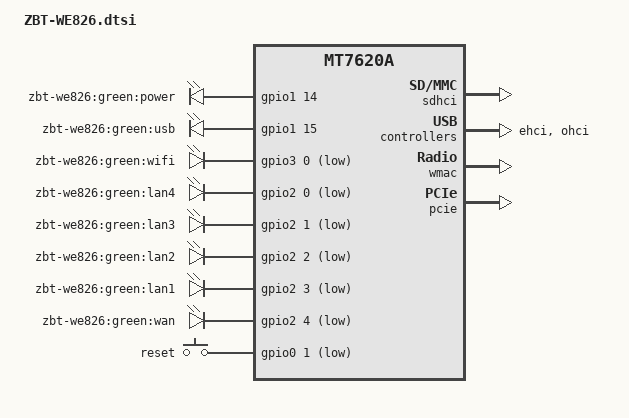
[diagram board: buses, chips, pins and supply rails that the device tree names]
#include "mt7620a.dtsi"

#include <dt-bindings/gpio/gpio.h>
#include <dt-bindings/input/input.h>

/ {
	compatible = "zbtlink,zbt-we826", "ralink,mt7620a-soc";

	aliases {
		led-boot = &led_power;
		led-failsafe = &led_power;
		led-running = &led_power;
		led-upgrade = &led_power;
	};

	chosen {
		bootargs = "console=ttyS0,115200";
	};

	leds {
		compatible = "gpio-leds";
		led_power: power {
			label = "zbt-we826:green:power";
			gpios = <&gpio1 14 GPIO_ACTIVE_HIGH>;
		};
		usb {
			label = "zbt-we826:green:usb";
			gpios = <&gpio1 15 GPIO_ACTIVE_HIGH>;
			trigger-sources = <&ohci_port1>, <&ehci_port1>;
			linux,default-trigger = "usbport";
		};
		air {
			label = "zbt-we826:green:wifi";
			gpios = <&gpio3 0 GPIO_ACTIVE_LOW>;
		};
		lan4 {
			label = "zbt-we826:green:lan4";
			gpios = <&gpio2 0 GPIO_ACTIVE_LOW>;
		};
		lan3 {
			label = "zbt-we826:green:lan3";
			gpios = <&gpio2 1 GPIO_ACTIVE_LOW>;
		};
		lan2 {
			label = "zbt-we826:green:lan2";
			gpios = <&gpio2 2 GPIO_ACTIVE_LOW>;
		};
		lan1 {
			label = "zbt-we826:green:lan1";
			gpios = <&gpio2 3 GPIO_ACTIVE_LOW>;
		};
		wan {
			label = "zbt-we826:green:wan";
			gpios = <&gpio2 4 GPIO_ACTIVE_LOW>;
		};
	};

	keys {
		compatible = "gpio-keys-polled";
		poll-interval = <20>;
		reset {
			label = "reset";
			gpios = <&gpio0 1 GPIO_ACTIVE_LOW>;
			linux,code = <KEY_RESTART>;
		};
	};
};

&gpio0 {
	status = "okay";
};

&gpio1 {
	status = "okay";
};

&gpio2 {
	status = "okay";
};

&gpio3 {
	status = "okay";
};

&sdhci {
	status = "okay";
};

&ehci {
	status = "okay";
};

&ohci {
	status = "okay";
};

&ethernet {
	mtd-mac-address = <&factory 0x4>;
	mediatek,portmap = "wllll";
};

&wmac {
	ralink,mtd-eeprom = <&factory 0>;
};

&pinctrl {
	state_default: pinctrl0 {
		default {
			ralink,group = "ephy", "i2c", "uartf", "wled", "spi refclk", "pa";
			ralink,function = "gpio";
		};
	};
};

&pcie {
	status = "okay";
};
